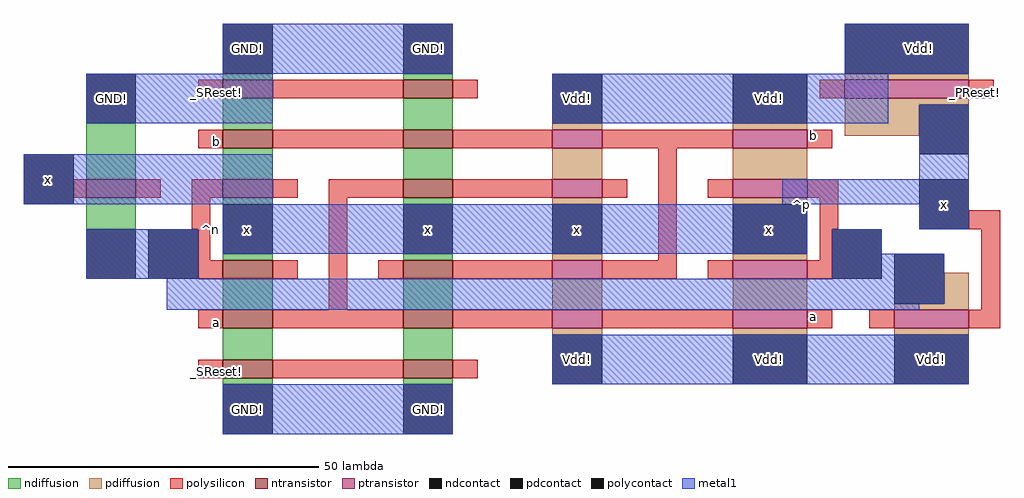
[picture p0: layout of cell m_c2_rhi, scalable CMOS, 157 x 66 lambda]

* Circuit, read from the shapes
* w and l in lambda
.subckt m_c2_rhi GND! Vdd! _PReset! _SReset! a b x
M1 GND! x n1 VSUBS nfet w=8 l=3
M2 n2 _SReset! GND! VSUBS nfet w=8 l=3
M3 n3 a n2 VSUBS nfet w=8 l=3
M4 x n1 n3 VSUBS nfet w=8 l=3
M5 n4 n1 x VSUBS nfet w=8 l=3
M6 n5 b n4 VSUBS nfet w=8 l=3
M7 GND! _SReset! n5 VSUBS nfet w=8 l=3
M8 n6 _SReset! GND! VSUBS nfet w=8 l=3
M9 n7 a n6 VSUBS nfet w=8 l=3
M10 x b n7 VSUBS nfet w=8 l=3
M11 n8 a x VSUBS nfet w=8 l=3
M12 n9 b n8 VSUBS nfet w=8 l=3
M13 GND! _SReset! n9 VSUBS nfet w=8 l=3
M14 n10 a Vdd! NWELL pfet w=8 l=3
M15 x b n10 NWELL pfet w=8 l=3
M16 n11 a x NWELL pfet w=8 l=3
M17 Vdd! b n11 NWELL pfet w=8 l=3
M18 n12 a Vdd! NWELL pfet w=12 l=3
M19 x n1 n12 NWELL pfet w=12 l=3
M20 n13 n1 x NWELL pfet w=12 l=3
M21 Vdd! b n13 NWELL pfet w=12 l=3
M22 Vdd! _PReset! x NWELL pfet w=20 l=3
M23 n1 x Vdd! NWELL pfet w=12 l=3
.ends

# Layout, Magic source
magic
tech scmos
<< ndiffusion >>
rect -45 75 -37 76
rect -16 75 -8 76
rect -67 59 -59 68
rect -45 67 -37 72
rect -16 67 -8 72
rect -45 59 -37 64
rect -16 59 -8 64
rect -67 51 -59 56
rect -45 55 -37 56
rect -45 46 -37 47
rect -45 38 -37 43
rect -16 55 -8 56
rect -16 46 -8 47
rect -16 38 -8 43
rect -45 30 -37 35
rect -16 30 -8 35
rect -45 26 -37 27
rect -16 26 -8 27
<< pdiffusion >>
rect 8 67 16 68
rect 55 75 75 76
rect 37 67 49 68
rect 55 71 75 72
rect 55 66 67 71
rect 8 59 16 64
rect 8 55 16 56
rect 8 46 16 47
rect 37 59 49 64
rect 37 55 49 56
rect 37 46 49 47
rect 8 38 16 43
rect 37 38 49 43
rect 71 39 75 44
rect 63 38 75 39
rect 8 34 16 35
rect 37 34 49 35
rect 63 34 75 35
<< ntransistor >>
rect -45 72 -37 75
rect -16 72 -8 75
rect -45 64 -37 67
rect -16 64 -8 67
rect -67 56 -59 59
rect -45 56 -37 59
rect -16 56 -8 59
rect -45 43 -37 46
rect -16 43 -8 46
rect -45 35 -37 38
rect -16 35 -8 38
rect -45 27 -37 30
rect -16 27 -8 30
<< ptransistor >>
rect 55 72 75 75
rect 8 64 16 67
rect 37 64 49 67
rect 8 56 16 59
rect 37 56 49 59
rect 8 43 16 46
rect 37 43 49 46
rect 8 35 16 38
rect 37 35 49 38
rect 63 35 75 38
<< polysilicon >>
rect -49 72 -45 75
rect -37 72 -16 75
rect -8 72 -4 75
rect 51 72 55 75
rect 75 72 79 75
rect -49 64 -45 67
rect -37 64 -16 67
rect -8 64 8 67
rect 16 64 37 67
rect 49 64 53 67
rect -69 56 -67 59
rect -59 56 -55 59
rect -50 56 -45 59
rect -37 56 -33 59
rect -28 56 -16 59
rect -8 56 8 59
rect 16 56 20 59
rect -50 51 -47 56
rect -49 46 -47 51
rect -49 43 -45 46
rect -37 43 -33 46
rect -28 38 -25 56
rect 25 46 28 64
rect 33 56 37 59
rect 49 56 54 59
rect 51 51 54 56
rect 75 51 80 54
rect 51 46 53 51
rect -20 43 -16 46
rect -8 43 8 46
rect 16 43 28 46
rect 33 43 37 46
rect 49 43 53 46
rect 77 38 80 51
rect -49 35 -45 38
rect -37 35 -16 38
rect -8 35 8 38
rect 16 35 37 38
rect 49 35 53 38
rect 59 35 63 38
rect 75 35 80 38
rect -49 27 -45 30
rect -37 27 -16 30
rect -8 27 -4 30
<< ndcontact >>
rect -45 76 -37 84
rect -67 68 -59 76
rect -16 76 -8 84
rect -67 43 -59 51
rect -45 47 -37 55
rect -16 47 -8 55
rect -45 18 -37 26
rect -16 18 -8 26
<< pdcontact >>
rect 55 76 75 84
rect 8 68 16 76
rect 37 68 49 76
rect 8 47 16 55
rect 67 63 75 71
rect 37 47 49 55
rect 63 39 71 47
rect 8 26 16 34
rect 37 26 49 34
rect 63 26 75 34
<< polycontact >>
rect -77 55 -69 63
rect -57 43 -49 51
rect 67 51 75 59
rect 53 43 61 51
<< metal1 >>
rect -45 76 -8 84
rect 55 76 75 84
rect -67 68 -37 76
rect 8 68 62 76
rect -77 55 -37 63
rect 67 59 75 71
rect 45 55 75 59
rect -67 43 -49 51
rect -45 47 49 55
rect 67 51 75 55
rect 53 47 61 51
rect 53 43 71 47
rect -54 39 71 43
rect -54 38 67 39
rect 8 26 75 34
rect -45 18 -8 26
<< labels >>
rlabel metal1 -12 51 -12 51 1 x
rlabel metal1 12 51 12 51 1 x
rlabel metal1 12 72 12 72 5 Vdd!
rlabel metal1 12 30 12 30 1 Vdd!
rlabel polysilicon 50 37 50 37 7 a
rlabel polysilicon 50 66 50 66 7 b
rlabel metal1 43 51 43 51 5 x
rlabel metal1 43 72 43 72 5 Vdd!
rlabel metal1 43 30 43 30 1 Vdd!
rlabel metal1 69 30 69 30 1 Vdd!
rlabel metal1 -12 80 -12 80 5 GND!
rlabel metal1 -12 22 -12 22 1 GND!
rlabel metal1 67 80 67 80 1 Vdd!
rlabel polysilicon 76 73 76 73 7 _PReset!
rlabel metal1 71 55 71 55 1 x
rlabel space 15 25 81 85 3 ^p
rlabel space -79 17 -15 85 7 ^n
rlabel metal1 -41 51 -41 51 1 x
rlabel metal1 -73 59 -73 59 5 x
rlabel polysilicon -46 65 -46 65 3 b
rlabel polysilicon -46 36 -46 36 3 a
rlabel metal1 -41 80 -41 80 5 GND!
rlabel ndcontact -63 72 -63 72 5 GND!
rlabel polysilicon -46 73 -46 73 1 _SReset!
rlabel metal1 -41 22 -41 22 1 GND!
rlabel polysilicon -46 28 -46 28 1 _SReset!
<< end >>
